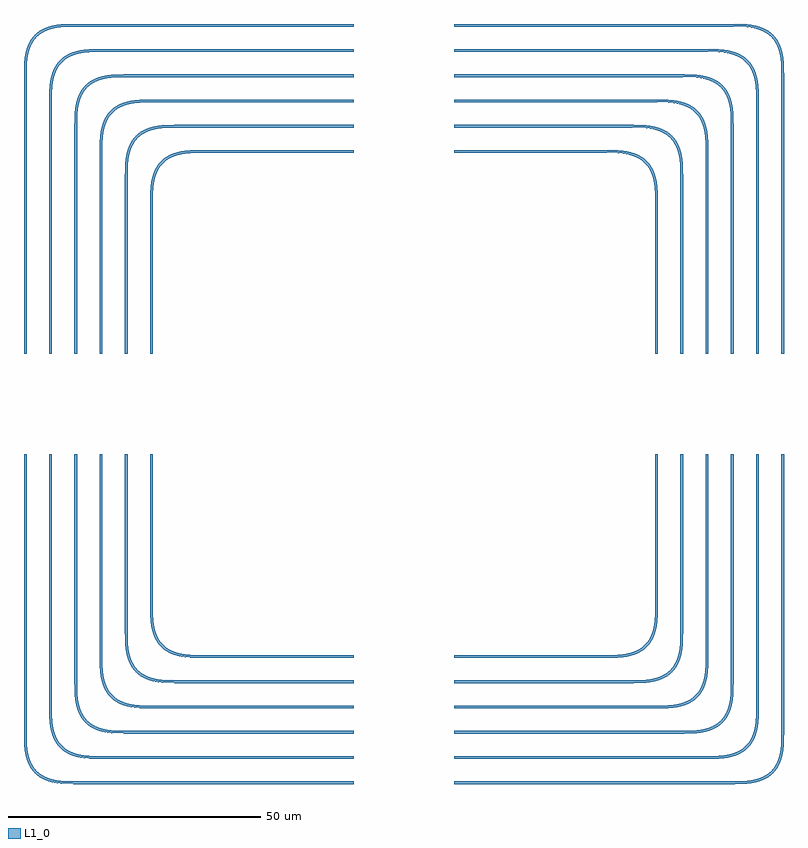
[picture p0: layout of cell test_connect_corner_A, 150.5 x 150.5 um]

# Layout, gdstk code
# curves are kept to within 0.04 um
from math import pi, radians
import gdstk
lib = gdstk.Library(unit=1e-6, precision=1e-09)
def R(c, l, rs):  # rectangles x0, y0, x1, y1
    for r in rs: c.add(gdstk.rectangle(r[:2], r[2:], *l))
def P(c, l, *ps):  # polygons
    for p in ps: c.add(gdstk.Polygon(p, *l))
L1_0 = (1, 0)

bend_euler_cross_sectio_ = lib.new_cell('bend_euler_cross_sectio_342b5477')
P(bend_euler_cross_sectio_, L1_0, [(0,-0.25),(2.93,-0.158),(3.973,-0.02),(4.865,0.175),(5.829,0.491),(6.664,0.882),(7.404,1.353),(8.073,1.927),(8.647,2.596),(9.118,3.336),(9.509,4.171),(9.825,5.135),(10.02,6.027),(10.158,7.07),(10.25,10),(9.75,10),(9.651,7.025),(9.494,5.933),(9.213,4.826),(8.921,4.063),(8.591,3.419),(8.163,2.785),(7.751,2.313),(7.215,1.837),(6.581,1.409),(5.217,0.801),(4.247,0.542),(2.975,0.349),(0,0.25)])

straight_cross_sectionc_ = lib.new_cell('straight_cross_sectionc_735ed535')
R(straight_cross_sectionc_, L1_0, [(0,-0.25,30,0.25)])

c_straight_cross_sectionc_ = lib.new_cell('straight_cross_sectionc_0d7aceec')
R(c_straight_cross_sectionc_, L1_0, [(0,-0.25,35,0.25)])

c_straight_cross_sectionc__ = lib.new_cell('straight_cross_sectionc_d3ed8899')
R(c_straight_cross_sectionc__, L1_0, [(0,-0.25,40,0.25)])

c_straight_cross_sectionc___ = lib.new_cell('straight_cross_sectionc_f00fc95a')
R(c_straight_cross_sectionc___, L1_0, [(0,-0.25,45,0.25)])

c_straight_cross_sectionc____ = lib.new_cell('straight_cross_sectionc_800b7664')
R(c_straight_cross_sectionc____, L1_0, [(0,-0.25,50,0.25)])

c_straight_cross_sectionc_____ = lib.new_cell('straight_cross_sectionc_13ce755f')
R(c_straight_cross_sectionc_____, L1_0, [(0,-0.25,55,0.25)])

test_connect_corner_a = lib.new_cell('test_connect_corner_A')
test_connect_corner_a.add(gdstk.Reference(bend_euler_cross_sectio_, (40,50), x_reflection=True))
test_connect_corner_a.add(gdstk.Reference(straight_cross_sectionc_, (10,50)))
test_connect_corner_a.add(gdstk.Reference(straight_cross_sectionc_, (50,40), rotation=3*pi/2))
test_connect_corner_a.add(gdstk.Reference(bend_euler_cross_sectio_, (45,55), x_reflection=True))
test_connect_corner_a.add(gdstk.Reference(c_straight_cross_sectionc_, (10,55)))
test_connect_corner_a.add(gdstk.Reference(c_straight_cross_sectionc_, (55,45), rotation=3*pi/2))
test_connect_corner_a.add(gdstk.Reference(bend_euler_cross_sectio_, (50,60), x_reflection=True))
test_connect_corner_a.add(gdstk.Reference(c_straight_cross_sectionc__, (10,60)))
test_connect_corner_a.add(gdstk.Reference(c_straight_cross_sectionc__, (60,50), rotation=3*pi/2))
test_connect_corner_a.add(gdstk.Reference(bend_euler_cross_sectio_, (55,65), x_reflection=True))
test_connect_corner_a.add(gdstk.Reference(c_straight_cross_sectionc___, (10,65)))
test_connect_corner_a.add(gdstk.Reference(c_straight_cross_sectionc___, (65,55), rotation=3*pi/2))
test_connect_corner_a.add(gdstk.Reference(bend_euler_cross_sectio_, (60,70), x_reflection=True))
test_connect_corner_a.add(gdstk.Reference(c_straight_cross_sectionc____, (10,70)))
test_connect_corner_a.add(gdstk.Reference(c_straight_cross_sectionc____, (70,60), rotation=3*pi/2))
test_connect_corner_a.add(gdstk.Reference(bend_euler_cross_sectio_, (65,75), x_reflection=True))
test_connect_corner_a.add(gdstk.Reference(c_straight_cross_sectionc_____, (10,75)))
test_connect_corner_a.add(gdstk.Reference(c_straight_cross_sectionc_____, (75,65), rotation=3*pi/2))
test_connect_corner_a.add(gdstk.Reference(bend_euler_cross_sectio_, (-65,75), rotation=pi))
test_connect_corner_a.add(gdstk.Reference(c_straight_cross_sectionc_____, (-10,75), rotation=pi))
test_connect_corner_a.add(gdstk.Reference(c_straight_cross_sectionc_____, (-75,65), rotation=3*pi/2))
test_connect_corner_a.add(gdstk.Reference(bend_euler_cross_sectio_, (-60,70), rotation=pi))
test_connect_corner_a.add(gdstk.Reference(c_straight_cross_sectionc____, (-10,70), rotation=pi))
test_connect_corner_a.add(gdstk.Reference(c_straight_cross_sectionc____, (-70,60), rotation=3*pi/2))
test_connect_corner_a.add(gdstk.Reference(bend_euler_cross_sectio_, (-55,65), rotation=pi))
test_connect_corner_a.add(gdstk.Reference(c_straight_cross_sectionc___, (-10,65), rotation=pi))
test_connect_corner_a.add(gdstk.Reference(c_straight_cross_sectionc___, (-65,55), rotation=3*pi/2))
test_connect_corner_a.add(gdstk.Reference(bend_euler_cross_sectio_, (-50,60), rotation=pi))
test_connect_corner_a.add(gdstk.Reference(c_straight_cross_sectionc__, (-10,60), rotation=pi))
test_connect_corner_a.add(gdstk.Reference(c_straight_cross_sectionc__, (-60,50), rotation=3*pi/2))
test_connect_corner_a.add(gdstk.Reference(bend_euler_cross_sectio_, (-45,55), rotation=pi))
test_connect_corner_a.add(gdstk.Reference(c_straight_cross_sectionc_, (-10,55), rotation=pi))
test_connect_corner_a.add(gdstk.Reference(c_straight_cross_sectionc_, (-55,45), rotation=3*pi/2))
test_connect_corner_a.add(gdstk.Reference(bend_euler_cross_sectio_, (-40,50), rotation=pi))
test_connect_corner_a.add(gdstk.Reference(straight_cross_sectionc_, (-10,50), rotation=pi))
test_connect_corner_a.add(gdstk.Reference(straight_cross_sectionc_, (-50,40), rotation=3*pi/2))
test_connect_corner_a.add(gdstk.Reference(bend_euler_cross_sectio_, (65,-75)))
test_connect_corner_a.add(gdstk.Reference(c_straight_cross_sectionc_____, (10,-75)))
test_connect_corner_a.add(gdstk.Reference(c_straight_cross_sectionc_____, (75,-65), rotation=pi/2))
test_connect_corner_a.add(gdstk.Reference(bend_euler_cross_sectio_, (60,-70)))
test_connect_corner_a.add(gdstk.Reference(c_straight_cross_sectionc____, (10,-70)))
test_connect_corner_a.add(gdstk.Reference(c_straight_cross_sectionc____, (70,-60), rotation=pi/2))
test_connect_corner_a.add(gdstk.Reference(bend_euler_cross_sectio_, (55,-65)))
test_connect_corner_a.add(gdstk.Reference(c_straight_cross_sectionc___, (10,-65)))
test_connect_corner_a.add(gdstk.Reference(c_straight_cross_sectionc___, (65,-55), rotation=pi/2))
test_connect_corner_a.add(gdstk.Reference(bend_euler_cross_sectio_, (50,-60)))
test_connect_corner_a.add(gdstk.Reference(c_straight_cross_sectionc__, (10,-60)))
test_connect_corner_a.add(gdstk.Reference(c_straight_cross_sectionc__, (60,-50), rotation=pi/2))
test_connect_corner_a.add(gdstk.Reference(bend_euler_cross_sectio_, (45,-55)))
test_connect_corner_a.add(gdstk.Reference(c_straight_cross_sectionc_, (10,-55)))
test_connect_corner_a.add(gdstk.Reference(c_straight_cross_sectionc_, (55,-45), rotation=pi/2))
test_connect_corner_a.add(gdstk.Reference(bend_euler_cross_sectio_, (40,-50)))
test_connect_corner_a.add(gdstk.Reference(straight_cross_sectionc_, (10,-50)))
test_connect_corner_a.add(gdstk.Reference(straight_cross_sectionc_, (50,-40), rotation=pi/2))
test_connect_corner_a.add(gdstk.Reference(bend_euler_cross_sectio_, (-40,-50), rotation=pi, x_reflection=True))
test_connect_corner_a.add(gdstk.Reference(straight_cross_sectionc_, (-10,-50), rotation=pi))
test_connect_corner_a.add(gdstk.Reference(straight_cross_sectionc_, (-50,-40), rotation=pi/2))
test_connect_corner_a.add(gdstk.Reference(bend_euler_cross_sectio_, (-45,-55), rotation=pi, x_reflection=True))
test_connect_corner_a.add(gdstk.Reference(c_straight_cross_sectionc_, (-10,-55), rotation=pi))
test_connect_corner_a.add(gdstk.Reference(c_straight_cross_sectionc_, (-55,-45), rotation=pi/2))
test_connect_corner_a.add(gdstk.Reference(bend_euler_cross_sectio_, (-50,-60), rotation=pi, x_reflection=True))
test_connect_corner_a.add(gdstk.Reference(c_straight_cross_sectionc__, (-10,-60), rotation=pi))
test_connect_corner_a.add(gdstk.Reference(c_straight_cross_sectionc__, (-60,-50), rotation=pi/2))
test_connect_corner_a.add(gdstk.Reference(bend_euler_cross_sectio_, (-55,-65), rotation=pi, x_reflection=True))
test_connect_corner_a.add(gdstk.Reference(c_straight_cross_sectionc___, (-10,-65), rotation=pi))
test_connect_corner_a.add(gdstk.Reference(c_straight_cross_sectionc___, (-65,-55), rotation=pi/2))
test_connect_corner_a.add(gdstk.Reference(bend_euler_cross_sectio_, (-60,-70), rotation=pi, x_reflection=True))
test_connect_corner_a.add(gdstk.Reference(c_straight_cross_sectionc____, (-10,-70), rotation=pi))
test_connect_corner_a.add(gdstk.Reference(c_straight_cross_sectionc____, (-70,-60), rotation=pi/2))
test_connect_corner_a.add(gdstk.Reference(bend_euler_cross_sectio_, (-65,-75), rotation=pi, x_reflection=True))
test_connect_corner_a.add(gdstk.Reference(c_straight_cross_sectionc_____, (-10,-75), rotation=pi))
test_connect_corner_a.add(gdstk.Reference(c_straight_cross_sectionc_____, (-75,-65), rotation=pi/2))

lib.write_gds('test_connect_corner_A.gds')
